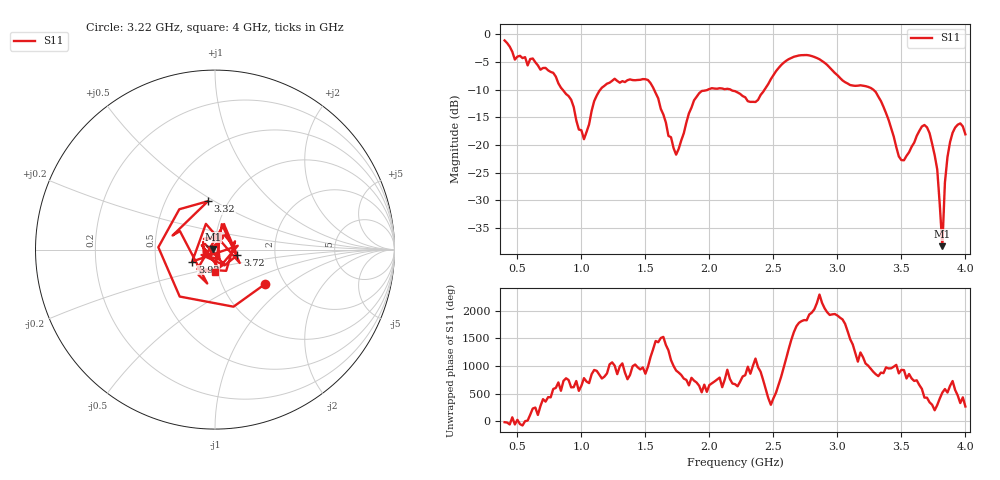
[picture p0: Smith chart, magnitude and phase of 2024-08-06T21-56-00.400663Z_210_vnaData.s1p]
!Created with skrf (http://scikit-rf.org).
# Hz S RI R 50.0
!freq ReS11 ImS11
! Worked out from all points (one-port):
!   181 points, 400 MHz to 4 GHz, reference 50 ohm
!   lowest |S11| = -38.3 dB at 3.82 GHz (marker M1), VSWR 1.02, Z = 48.9 + j0.39 ohm
!   |S11| at or under -10 dB: 852.2 MHz to 1.149 GHz (296.4 MHz wide, 29.6 % of centre); 1.567 GHz to 1.99 GHz (422.8 MHz wide, 23.8 % of centre); 3.28 GHz to end of sweep (the widest 3 of 4)
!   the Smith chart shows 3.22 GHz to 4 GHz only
!   S11 on the Smith chart (normalised r, x): 3.22 GHz: 1.60, -0.69; 3.32 GHz: 0.80, +0.47; 3.72 GHz: 1.28, -0.08; 3.92 GHz: 0.77, -0.10; 4 GHz: 0.97, -0.24
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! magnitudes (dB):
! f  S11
! 400 MHz  -1.1
! 480 MHz  -4.6
! 620 MHz  -4.4
! 860 MHz  -10.2
! 1.02 GHz  -19.0
! 1.14 GHz  -10.3
! 1.3 GHz  -8.8
! 1.52 GHz  -8.3
! 1.74 GHz  -21.8
! 1.76 GHz  -20.7
! 1.92 GHz  -10.7
! 2.2 GHz  -10.3
! 2.36 GHz  -12.3
! 2.66 GHz  -4.1
! 2.86 GHz  -4.5
! 3.1 GHz  -9.2
! 3.22 GHz  -9.4
! 3.32 GHz  -11.3
! 3.48 GHz  -22.1
! 3.56 GHz  -21.3
! 3.66 GHz  -16.7
! 3.72 GHz  -17.9
! 3.78 GHz  -24.4
! 3.82 GHz  -38.3
! 3.84 GHz  -26.8
! 3.86 GHz  -22.2
! 3.92 GHz  -16.9
! 4 GHz  -18.1
